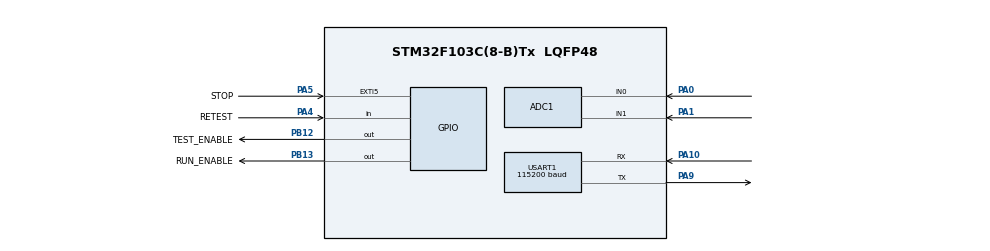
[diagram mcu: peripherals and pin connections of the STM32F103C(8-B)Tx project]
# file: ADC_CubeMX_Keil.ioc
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ADC1.Channel-0\#ChannelRegularConversion=ADC_CHANNEL_0
ADC1.NbrOfConversionFlag=1
ADC1.Rank-0\#ChannelRegularConversion=1
ADC1.SamplingTime-0\#ChannelRegularConversion=ADC_SAMPLETIME_239CYCLES_5
ADC1.master=1
Mcu.Family=STM32F1
Mcu.Name=STM32F103C(8-B)Tx
Mcu.Package=LQFP48
NVIC.PriorityGroup=NVIC_PRIORITYGROUP_4
PA0-WKUP.Signal=SharedAnalog_PA0
PA1.GPIO_Mode=GPIO_MODE_ANALOG
PA1.Signal=SharedAnalog_PA1
PA10.Mode=Asynchronous
PA10.Signal=USART1_RX
PA9.Mode=Asynchronous
PA9.Signal=USART1_TX
ProjectManager.HeapSize=0x200
ProjectManager.StackSize=0x400
ProjectManager.TargetToolchain=MDK-ARM V5.32
RCC.APB1Freq_Value=8000000
RCC.APB2Freq_Value=8000000
SH.SharedAnalog_PA0.0=GPIO_Analog
SH.SharedAnalog_PA0.1=ADC1_IN0,IN0
SH.SharedAnalog_PA1.0=GPIO_Analog
SH.SharedAnalog_PA1.1=ADC1_IN1,IN1
USART1.BaudRate=115200
USART1.VirtualMode=VM_ASYNC
VP_SYS_VS_ND.Mode=No_Debug
board=custom
PA4.GPIO_PuPd=GPIO_PULLUP
PA4.GPIO_Label=RETEST
PA4.Signal=GPIO_Input
PA5.GPIO_PuPd=GPIO_PULLUP
PA5.GPIO_Label=STOP
PA5.GPIO_ModeDefaultEXTI=GPIO_MODE_IT_FALLING
PA5.Signal=GPXTI5
PB12.PinState=GPIO_PIN_RESET
PB12.GPIO_Label=TEST_ENABLE
PB12.GPIO_Speed=GPIO_SPEED_FREQ_LOW
PB12.Signal=GPIO_Output
PB13.PinState=GPIO_PIN_RESET
PB13.GPIO_Label=RUN_ENABLE
PB13.GPIO_Speed=GPIO_SPEED_FREQ_LOW
PB13.Signal=GPIO_Output
NVIC.EXTI9_5_IRQn=true\:0\:0\:false\:false\:true\:true\:true\:true

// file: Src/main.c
/* USER CODE BEGIN Header */
/**
  ******************************************************************************
  * @file           : main.c
  * @brief          : Main program body
  ******************************************************************************
  * @attention
  *
  * Copyright (c) 2026 STMicroelectronics.
  * All rights reserved.
  *
  * This software is licensed under terms that can be found in the LICENSE file
  * in the root directory of this software component.
  * If no LICENSE file comes with this software, it is provided AS-IS.
  *
  ******************************************************************************
  */
/* USER CODE END Header */
#include "main.h" /* 引入 HAL、芯片定义和 Error_Handler 声明。 */

/* USER CODE BEGIN Includes */
#include <stdio.h> /* 将真实读数格式化为串口文本。 */
#include <string.h> /* 使用明确的字符串比较检查 ADC 返回状态。 */
#include "div_diagnosis.h" /* 引入参数 2.0 的电压换算和九工况判别。 */

/* USER CODE END Includes */

/* USER CODE BEGIN PTD */
typedef struct /* 保存一次检测结果，初始化时所有有效标志为假。 */
{
    uint32_t vb_raw; /* VB 的真实 ADC 原码，仅在 vb_valid 为真时可用。 */
    uint32_t va_raw; /* VA 的真实 ADC 原码，仅在 va_valid 为真时可用。 */
    uint32_t vb_mv; /* VB 四舍五入后的 mV 值。 */
    uint32_t va_mv; /* VA 四舍五入后的 mV 值。 */
    uint32_t adc_conversions; /* 每次 Poll 成功并 GetValue 后递增。 */
    uint32_t feature_reads; /* 实际获得有效读数的不同节点数。 */
    uint32_t elapsed_ms; /* 从断开旧电源到判别和供电设置完成的毫秒数，不含串口发送。 */
    int vb_valid; /* VB 已有效采样时为真，未读时输出 NA。 */
    int va_valid; /* VA 已有效采样时为真，未读时输出 NA。 */
    int state; /* 唯一工况编号，或 DIV_UNKNOWN。 */
    const char *error; /* OK 或明确的 ADC 错误阶段。 */
} DivMeasurement; /* 为本次采集记录定义类型名。 */

typedef struct /* 保存复测按钮的消抖状态，持续按下只触发一次。 */
{
    GPIO_PinState raw_level; /* 最近一次读到的按钮电平。 */
    GPIO_PinState stable_level; /* 已连续稳定足够时间的按钮电平。 */
    uint32_t changed_ms; /* 原始电平最后变化的时刻。 */
} RetestButton; /* 为复测按钮的状态定义类型名。 */

/* USER CODE END PTD */

/* USER CODE BEGIN PD */
#define ADC_TIMEOUT_MILLISECONDS 20 /* 最多等待一次 ADC 转换 20 ms。 */
#define UART_TIMEOUT_MILLISECONDS 100 /* 一条报告最多发送 100 ms。 */
#define REPORT_BUFFER_SIZE 384 /* 容纳整条带状态和错误信息的报告。 */
#define TEST_POWER_PIN GPIO_PIN_12 /* PB12，芯片第 25 脚，控制 1 V 测试电源开关。 */
#define RUN_POWER_PIN GPIO_PIN_13 /* PB13，芯片第 26 脚，控制 3 V 运行电源开关。 */
#define RETEST_BUTTON_PIN GPIO_PIN_4 /* PA4，芯片第 14 脚，复测按钮按下接地。 */
#define STOP_BUTTON_PIN GPIO_PIN_5 /* PA5，芯片第 15 脚，停止按钮按下接地。 */
#define POWER_BREAK_MILLISECONDS 5 /* 两路电源都断开后等待 5 ms，保证先断后合。 */
#define TEST_SETTLE_MILLISECONDS 20 /* 打开测试电源后等待 20 ms，使 DIV 电压稳定。 */
#define BUTTON_DEBOUNCE_MILLISECONDS 20 /* 复测按钮稳定 20 ms 后接受一次按下事件。 */
#define CONTROL_POLL_MILLISECONDS 1 /* 主循环每隔 1 ms 检查复测；停止由中断立即断电。 */
#define DIV_NORMAL_CASE 0 /* 正常工况为 DIV0，只有该状态允许进入运行。 */

/* USER CODE END PD */

ADC_HandleTypeDef hadc1; /* 保存 ADC1 的 HAL 配置及状态。 */

UART_HandleTypeDef huart1; /* 保存 USART1 的 HAL 配置及状态。 */

/* USER CODE BEGIN PV */
static volatile int power_gpio_ready = 0; /* GPIO 尚未初始化时禁止访问断电输出。 */
static volatile int stop_requested = 0; /* 停止中断锁存此标志，只有松开停止并按复测才解除。 */
static int detection_pending = 1; /* 上电安排一次检测，完成后等待复测按钮。 */
static int stop_reported = 0; /* 一次停止事件只输出一条事件报告。 */
static RetestButton retest_button = {GPIO_PIN_SET, GPIO_PIN_SET, 0}; /* 未按按钮默认为高电平。 */

/* USER CODE END PV */

void SystemClock_Config(void); /* 声明系统时钟配置函数。 */
static void MX_GPIO_Init(void); /* 声明 GPIO 初始化函数。 */
static void MX_ADC1_Init(void); /* 声明 ADC1 初始化函数。 */
static void MX_USART1_UART_Init(void); /* 声明 USART1 初始化函数。 */
/* USER CODE BEGIN PFP */
static const char *ReadAdcChannel(uint32_t channel, uint32_t *raw, uint32_t *conversions); /* 声明真实采样函数。 */
static void SendReport(const DivMeasurement *result); /* 声明报告函数。 */
static void RunDivDetection(void); /* 声明一次完整检测。 */
static void AllPowerOff(void); /* 声明无等待的双路断电函数，可由停止中断调用。 */
static void ServiceControls(void); /* 声明复测和停止按钮的处理函数。 */

/* USER CODE END PFP */

/* USER CODE BEGIN 0 */
static void AllPowerOff(void) /* 同一次 GPIO 写操作关闭两个开关，不在中断里延时。 */
{
    if (power_gpio_ready) /* 初始化未完成时由外部下拉电阻维持断电。 */
    {
        HAL_GPIO_WritePin(GPIOB, TEST_POWER_PIN | RUN_POWER_PIN, GPIO_PIN_RESET); /* 将 PB12 和 PB13 一起拉低。 */
    }
}

static int StopIsActive(void) /* 同时检查锁存事件和按钮实时电平，包含上电时已按住的情况。 */
{
    return stop_requested || HAL_GPIO_ReadPin(GPIOA, STOP_BUTTON_PIN) == GPIO_PIN_RESET; /* 任一条件成立就禁止上电。 */
}

void DivEmergencyStop(void) /* 供停止中断和故障中断使用，不调用串口或 HAL_Delay。 */
{
    stop_requested = 1; /* 锁存停止，按钮松开也不会自动恢复运行。 */
    AllPowerOff(); /* 立即关闭测试和运行电源。 */
}

void HAL_GPIO_EXTI_Callback(uint16_t pin) /* HAL 在处理停止按钮的下降沿中断后调用此函数。 */
{
    if (pin == STOP_BUTTON_PIN) /* 只处理本工程接在 PA5 的停止按钮。 */
    {
        DivEmergencyStop(); /* 按下时立即断电，主循环随后发送停止事件。 */
    }
}

static int WaitWithoutStop(uint32_t milliseconds) /* 在稳定等待和互锁等待期间也允许停止取消检测。 */
{
    uint32_t started_ms = HAL_GetTick(); /* 保存等待开始时刻。 */
    while (HAL_GetTick() - started_ms < milliseconds) /* 无符号差值允许毫秒计数器回绕。 */
    {
        if (StopIsActive()) /* 检查等待期间是否出现停止。 */
        {
            DivEmergencyStop(); /* 即使按钮没有产生新下降沿，也保证立即断电。 */
            return 0; /* 告诉调用方本次等待被停止取消。 */
        }
        HAL_Delay(CONTROL_POLL_MILLISECONDS); /* 等待一个毫秒，保持 SysTick 正常更新。 */
    }
    if (StopIsActive()) /* 在等待结束的边界再检查一次停止。 */
    {
        DivEmergencyStop(); /* 保证边界出现的停止也关闭两路。 */
        return 0; /* 禁止继续合闸。 */
    }
    return 1; /* 等待完成且没有停止请求。 */
}

static int SelectPower(uint16_t selected_pin) /* 只允许在两个开关均关闭并等待之后开启其中一路。 */
{
    uint32_t previous_interrupt_mask; /* 保存调用前的中断屏蔽状态，不能擅自开启原本关闭的中断。 */
    int enabled = 0; /* 默认没有合闸，只有通过所有检查才置为成功。 */
    AllPowerOff(); /* 每次切换首先断开旧电源和另一条电源。 */
    if (selected_pin != TEST_POWER_PIN && selected_pin != RUN_POWER_PIN) /* 拒绝同时开启两路或传入其他引脚。 */
    {
        return 0; /* 保持双路关闭并报告未合闸。 */
    }
    if (!WaitWithoutStop(POWER_BREAK_MILLISECONDS)) /* 至少保持两路断开 5 ms，并接受停止取消。 */
    {
        return 0; /* 被停止后不允许合闸。 */
    }
    previous_interrupt_mask = __get_PRIMASK(); /* 保存当前中断状态。 */
    __disable_irq(); /* 将停止检查和单路合闸作为不可被打断的一组操作。 */
    if (!StopIsActive()) /* 若停止已发生或按钮仍按住，就维持断电。 */
    {
        HAL_GPIO_WritePin(GPIOB, selected_pin, GPIO_PIN_SET); /* 只拉高选中的一根控制线。 */
        enabled = 1; /* 记录已经发出单路开启命令。 */
    }
    __set_PRIMASK(previous_interrupt_mask); /* 恢复原中断状态，已挂起的停止中断将立即关闭电源。 */
    return enabled; /* 后续步骤仍会检查停止标志，避免接受已被取消的检测。 */
}

static int RetestWasPressed(void) /* 产生经消抖的按下事件，持续按住不会重复检测。 */
{
    GPIO_PinState current_level = HAL_GPIO_ReadPin(GPIOA, RETEST_BUTTON_PIN); /* 读取 PA4，低电平表示按下。 */
    uint32_t now_ms = HAL_GetTick(); /* 获取消抖计时时刻。 */
    if (current_level != retest_button.raw_level) /* 原始电平改变时重新开始稳定计时。 */
    {
        retest_button.raw_level = current_level; /* 保存刚读到的电平。 */
        retest_button.changed_ms = now_ms; /* 从本次变化时刻起等待 20 ms。 */
    }
    if (current_level != retest_button.stable_level && now_ms - retest_button.changed_ms >= BUTTON_DEBOUNCE_MILLISECONDS) /* 只接受持续稳定的变化。 */
    {
        retest_button.stable_level = current_level; /* 更新已确认的稳定电平。 */
        return current_level == GPIO_PIN_RESET; /* 仅按下沿返回真，松开沿只更新状态。 */
    }
    return 0; /* 没有新的稳定按下事件。 */
}

static const char *ReadAdcChannel(uint32_t channel, uint32_t *raw, uint32_t *conversions) /* 失败返回阶段名，成功返回 OK。 */
{
    ADC_ChannelConfTypeDef selected = {0}; /* 全部配置字段清零，随后明确设置所需字段。 */
    if (StopIsActive()) /* 停止若发生在上一通道转换期间，不再启动下一通道。 */
    {
        return "STOP_REQUESTED"; /* 断电后的读数不能作为新的有效测试采样。 */
    }
    selected.Channel = channel; /* 选择 PA0 的通道 0 或 PA1 的通道 1。 */
    selected.Rank = ADC_REGULAR_RANK_1; /* 单次转换只使用序列第一个位置。 */
    selected.SamplingTime = ADC_SAMPLETIME_239CYCLES_5; /* 给分压节点 239.5 个 ADC 周期采样时间。 */
    if (HAL_ADC_ConfigChannel(&hadc1, &selected) != HAL_OK) /* 在 ADC 停止期间切换通道。 */
    {
        return "ADC_CONFIG_FAILED"; /* 配置失败，没有启动转换。 */
    }
    if (StopIsActive()) /* 配置完成到启动之前再次检查停止。 */
    {
        return "STOP_REQUESTED"; /* 不在已经断电的电路上启动 ADC 转换。 */
    }
    if (HAL_ADC_Start(&hadc1) != HAL_OK) /* 软件触发一次真实转换。 */
    {
        if (HAL_ADC_Stop(&hadc1) != HAL_OK) /* 启动失败也尝试让 ADC 回到停止状态。 */
        {
            return "ADC_START_AND_STOP_FAILED"; /* 同时报告启动与清理失败。 */
        }
        return "ADC_START_FAILED"; /* 不把启动失败记作完成转换。 */
    }
    if (HAL_ADC_PollForConversion(&hadc1, ADC_TIMEOUT_MILLISECONDS) != HAL_OK) /* 等待真实完成标志，最多 20 ms。 */
    {
        if (HAL_ADC_Stop(&hadc1) != HAL_OK) /* 超时或错误后也关闭 ADC。 */
        {
            return "ADC_POLL_AND_STOP_FAILED"; /* 明确报告等待和停止均失败。 */
        }
        return "ADC_POLL_FAILED"; /* 未确认完成的转换不计入成功转换数。 */
    }
    *raw = HAL_ADC_GetValue(&hadc1); /* 唯一的原码来源：读取 ADC 数据寄存器。 */
    ++(*conversions); /* 确认完成并取值后记录一次，停止失败也不会抹去已经发生的转换。 */
    if (HAL_ADC_Stop(&hadc1) != HAL_OK) /* 每次取值后停止，再允许下一次切换通道。 */
    {
        return "ADC_STOP_FAILED"; /* ADC 状态不可靠，本轮不接受为正常测量。 */
    }
    if (*raw > DIV_ADC_MAX_CODE) /* 检查返回值与 12 位右对齐配置一致。 */
    {
        return "ADC_RANGE_FAILED"; /* 不对越界原码套用电压换算。 */
    }
    return "OK"; /* 本次配置、启动、等待、取值和停止全部成功。 */
}

static void SendReport(const DivMeasurement *result) /* 只发送已经保存的检测结果，不再进行 ADC 转换。 */
{
    char line[REPORT_BUFFER_SIZE]; /* 保存完整的一行串口报告。 */
    char state_text[16] = "UNKNOWN"; /* 未确认唯一匹配前使用未知状态。 */
    char vb_raw_text[12] = "NA"; /* 未取得有效 VB 原码时不发送伪造的零。 */
    char va_raw_text[12] = "NA"; /* 未取得有效 VA 原码时显示未读。 */
    char vb_mv_text[12] = "NA"; /* VB 未读时没有可用的毫伏值。 */
    char va_mv_text[12] = "NA"; /* VA 未读时没有可用的毫伏值。 */
    const char *kind = "UNKNOWN"; /* 将正常、已知故障、未知分开显示。 */
    int written; /* 保存 snprintf 实际需要的字符数。 */
    if (result->state >= 0) /* 只有唯一匹配才输出 DIV 编号。 */
    {
        snprintf(state_text, sizeof(state_text), "DIV%d", result->state); /* 将内部编号转换为 DIV0 至 DIV8。 */
        kind = result->state == DIV_NORMAL_CASE ? "NORMAL" : "FAULT"; /* 正常编号使用具名常量表达。 */
    }
    if (result->vb_valid) /* 只有有效 VB 采样才能进入报告。 */
    {
        snprintf(vb_raw_text, sizeof(vb_raw_text), "%lu", (unsigned long)result->vb_raw); /* 格式化真实 VB 原码。 */
        snprintf(vb_mv_text, sizeof(vb_mv_text), "%lu", (unsigned long)result->vb_mv); /* 格式化 VB 换算值。 */
    }
    if (result->va_valid) /* 独立判断 VA，避免沿用上一轮数据。 */
    {
        snprintf(va_raw_text, sizeof(va_raw_text), "%lu", (unsigned long)result->va_raw); /* 格式化真实 VA 原码。 */
        snprintf(va_mv_text, sizeof(va_mv_text), "%lu", (unsigned long)result->va_mv); /* 格式化 VA 换算值。 */
    }
    written = snprintf(line, sizeof(line), /* 按固定字段名组成便于保存与核对的串口记录。 */
        "STATE=%s KIND=%s VB_RAW=%s VB_MV=%s VA_RAW=%s VA_MV=%s " /* 先输出状态和两点原码、电压。 */
        "FEATURE_READS=%lu ADC_CONVERSIONS=%lu ELAPSED_MS=%lu " /* 分别输出节点数、转换数和检测耗时。 */
        "RUN_POWER=%s TEST_POWER=%s POWER_SOURCE=GPIO_LEVEL ERROR=%s\r\n", /* GPIO 电平是控制证据，不能冒充独立电源测量。 */
        state_text, kind, vb_raw_text, vb_mv_text, va_raw_text, va_mv_text, /* 对应前六个文本字段。 */
        (unsigned long)result->feature_reads, (unsigned long)result->adc_conversions, /* 使用本轮实际累加的计数。 */
        (unsigned long)result->elapsed_ms, /* 输出包含测试准备和供电切换的检测耗时。 */
        HAL_GPIO_ReadPin(GPIOB, RUN_POWER_PIN) == GPIO_PIN_SET ? "ON" : "OFF", /* 读取 PB13 的实际逻辑电平快照。 */
        HAL_GPIO_ReadPin(GPIOB, TEST_POWER_PIN) == GPIO_PIN_SET ? "ON" : "OFF", /* 读取 PB12 的实际逻辑电平快照。 */
        result->error); /* 输出本轮的 ADC 错误或停止原因。 */
    if (written < 0 || written >= (int)sizeof(line)) /* 检查格式化失败和缓冲区不足。 */
    {
        Error_Handler(); /* 不发送截断或损坏的记录。 */
    }
    if (HAL_UART_Transmit(&huart1, (uint8_t *)line, (uint16_t)written, UART_TIMEOUT_MILLISECONDS) != HAL_OK) /* 由 PA9 发往终端 RXD。 */
    {
        Error_Handler(); /* 串口发送失败时停止，避免伪称已交付数据。 */
    }
}

static void RunDivDetection(void) /* 在 1 V 测试条件下检测一次，然后保持结果等待复测。 */
{
    DivMeasurement result = {0}; /* 清空这一轮记录；两个有效标志均为假。 */
    uint32_t started_ms = HAL_GetTick(); /* 从关闭旧供电和建立测试条件之前开始计时。 */
    result.state = DIV_UNKNOWN; /* 在读完两点并成功判别之前维持未知。 */
    result.error = "STOP_REQUESTED"; /* 建立测试状态失败时报告停止，不能伪造 ADC 数据。 */
    if (!SelectPower(TEST_POWER_PIN) || !WaitWithoutStop(TEST_SETTLE_MILLISECONDS)) /* 关闭运行、互锁等待、打开测试并稳定 20 ms。 */
    {
        AllPowerOff(); /* 建立测试状态失败时保证双路关闭。 */
        result.elapsed_ms = HAL_GetTick() - started_ms; /* 保存到取消时刻的真实耗时。 */
        SendReport(&result); /* 未采样的电压输出 NA，次数保持零。 */
        return; /* 本次被取消，等待新的复测事件。 */
    }
    result.error = ReadAdcChannel(ADC_CHANNEL_0, &result.vb_raw, &result.adc_conversions); /* 从 PA0 读取 VB。 */
    if (strcmp(result.error, "OK") == 0) /* 明确比较整个返回字符串，确认 VB 采样成功。 */
    {
        result.vb_valid = 1; /* 标记本轮 VB 已读取。 */
        result.vb_mv = DivCodeToMillivolts(result.vb_raw); /* 由原码换算 VB 的毫伏值。 */
        ++result.feature_reads; /* VB 是本轮第一个有效节点。 */
        result.error = ReadAdcChannel(ADC_CHANNEL_1, &result.va_raw, &result.adc_conversions); /* 切到 PA1 读取 VA。 */
        if (strcmp(result.error, "OK") == 0) /* VA 采样成功才允许两点判别。 */
        {
            result.va_valid = 1; /* 标记本轮 VA 已读取。 */
            result.va_mv = DivCodeToMillivolts(result.va_raw); /* 由原码换算 VA 的毫伏值。 */
            ++result.feature_reads; /* VA 是本轮第二个有效节点。 */
            result.state = DivClassify((int32_t)result.vb_mv, (int32_t)result.va_mv); /* 用电压闭区间确定唯一工况。 */
        }
    }
    if (StopIsActive()) /* 即使停止发生在 ADC 转换期间，也禁止接受结果并开启运行。 */
    {
        result.state = DIV_UNKNOWN; /* 已取消的检测不作为正常或故障验收结果。 */
        result.error = "STOP_REQUESTED"; /* 报告本轮取消原因。 */
        AllPowerOff(); /* 保持停止时的双路关闭。 */
    }
    else if (strcmp(result.error, "OK") == 0 && result.vb_valid && result.va_valid && result.state == DIV_NORMAL_CASE) /* 两点均成功且唯一匹配正常才进入运行。 */
    {
        if (!SelectPower(RUN_POWER_PIN) || StopIsActive()) /* 先断开测试电源，再等待 5 ms，最后尝试开启运行。 */
        {
            result.state = DIV_UNKNOWN; /* 切换被停止取消时拒绝正常结果。 */
            result.error = "STOP_REQUESTED"; /* 输出明确的取消原因。 */
            AllPowerOff(); /* 保证双路最终关闭。 */
        }
    }
    else /* 已知故障、未知工况或任何 ADC 失败都不允许进入运行。 */
    {
        AllPowerOff(); /* 检测完成后连测试电源也关闭，保持等待复测状态。 */
    }
    result.elapsed_ms = HAL_GetTick() - started_ms; /* 包含测试建立、采样判别和最终供电切换，不含串口与按钮等待。 */
    SendReport(&result); /* 发送本次测试时保存的电压，即使现在已经进入 3 V 运行也不再采样。 */
}

static void SendStopEvent(void) /* 报告停止事件，与用于填写 CSV 的 STATE 检测记录分开。 */
{
    const char stopped[] = "EVENT=STOP RUN_POWER=OFF TEST_POWER=OFF MODE=WAIT_RETEST\r\n"; /* 表明停止后必须重新按复测。 */
    if (HAL_UART_Transmit(&huart1, (uint8_t *)stopped, sizeof(stopped) - 1, UART_TIMEOUT_MILLISECONDS) != HAL_OK) /* 在主循环里发送，中断只负责断电。 */
    {
        Error_Handler(); /* 通信失败也维持双路断电并停机。 */
    }
}

static void ServiceControls(void) /* 平时只检查按钮，不重复 ADC 采样或自动改变运行供电。 */
{
    if (StopIsActive()) /* 停止按钮优先于任何复测操作。 */
    {
        DivEmergencyStop(); /* 锁存停止并确保两路关闭。 */
        detection_pending = 0; /* 取消未执行的自动检测。 */
        if (!stop_reported) /* 同一次停止只报告一次。 */
        {
            SendStopEvent(); /* 让终端看到停止后供电关闭。 */
            stop_reported = 1; /* 后续循环不重复发送。 */
        }
    }
    if (RetestWasPressed() && HAL_GPIO_ReadPin(GPIOA, STOP_BUTTON_PIN) == GPIO_PIN_SET) /* 停止按钮松开后，新的复测按下事件才有效。 */
    {
        uint32_t previous_interrupt_mask = __get_PRIMASK(); /* 保存进入临界区前的中断状态。 */
        __disable_irq(); /* 防止解除旧停止标志时丢失同时出现的新停止。 */
        if (HAL_GPIO_ReadPin(GPIOA, STOP_BUTTON_PIN) == GPIO_PIN_SET) /* 在临界区内再次确认停止按钮没有按下。 */
        {
            stop_requested = 0; /* 只通过用户明确的复测动作解除停止锁存。 */
            detection_pending = 1; /* 安排一轮完整的断电、测试、采样和判别。 */
            stop_reported = 0; /* 允许下一次独立停止事件再次报告。 */
        }
        __set_PRIMASK(previous_interrupt_mask); /* 新挂起的停止中断随后仍可取消这一轮。 */
    }
    if (detection_pending && !StopIsActive()) /* 只有有检测请求且未停止才进行 ADC 检测。 */
    {
        detection_pending = 0; /* 执行前先清除请求，防止下一圈自动再测。 */
        RunDivDetection(); /* 测量一次，完成后保持运行或断电，直到用户按复测。 */
    }
}

/* USER CODE END 0 */

int main(void)
{

  /* MCU Configuration--------------------------------------------------------*/

  /* Reset of all peripherals, Initializes the Flash interface and the Systick. */
  HAL_Init(); /* 复位 HAL 并建立 1 ms 的 SysTick 时间基准。 */
  MX_GPIO_Init(); /* 尽早将 PB12 和 PB13 配置为低电平输出，优先保证默认断电。 */

  /* Configure the system clock */
  SystemClock_Config(); /* 应用原工程的内部 HSI 8 MHz 时钟方案。 */

  /* Initialize all configured peripherals */
  MX_ADC1_Init(); /* 初始化 ADC1 单次软件转换，MSP 同时设置 PA0 和 PA1 为模拟输入。 */
  MX_USART1_UART_Init(); /* 初始化 USART1 与 PA9、PA10 引脚。 */
  /* USER CODE BEGIN 2 */
const char startup[] = "BOOT=DIV_POWER_20261011 MODE=ONE_SHOT VREF_MV=3300 ADC_BITS=12 BAUD=115200 RUN_POWER=OFF TEST_POWER=OFF\r\n"; /* 上电报告版本和初始双路关闭状态。 */
  const char calibration_error[] = "STATE=UNKNOWN ERROR=ADC_CALIBRATION_FAILED RUN_POWER=OFF TEST_POWER=OFF\r\n"; /* 校准失败时不打开任何被测电路电源。 */
  if (HAL_UART_Transmit(&huart1, (uint8_t *)startup, sizeof(startup) - 1, UART_TIMEOUT_MILLISECONDS) != HAL_OK) /* 上电先验证终端链路。 */
  {
    Error_Handler(); /* 启动信息发送失败时停止。 */
  }
  if (HAL_ADCEx_Calibration_Start(&hadc1) != HAL_OK) /* 所有外设初始化之后只校准一次。 */
  {
    HAL_UART_Transmit(&huart1, (uint8_t *)calibration_error, sizeof(calibration_error) - 1, UART_TIMEOUT_MILLISECONDS); /* 尽力报告校准故障。 */
    Error_Handler(); /* 校准失败不得继续采样判别。 */
  }
  retest_button.raw_level = HAL_GPIO_ReadPin(GPIOA, RETEST_BUTTON_PIN); /* 上电时按住复测也不制造额外的按下沿。 */
  retest_button.stable_level = retest_button.raw_level; /* 将当前电平作为初始稳定状态。 */
  retest_button.changed_ms = HAL_GetTick(); /* 从初始化结束开始按钮消抖计时。 */

/* USER CODE END 2 */

  /* Infinite loop */
  /* USER CODE BEGIN WHILE */
  while (1) /* 持续执行循环；错误处理中的空循环用于停机。 */
  {
    /* USER CODE END WHILE */

    /* USER CODE BEGIN 3 */
ServiceControls(); /* 上电仅检测一次，之后只接受复测和停止操作。 */
    HAL_Delay(CONTROL_POLL_MILLISECONDS); /* 主循环检查间隔为 1 ms，运行期间不自动采样。 */
  }

/* USER CODE END 3 */
}

void SystemClock_Config(void)
{
  RCC_OscInitTypeDef RCC_OscInitStruct = {0}; /* 将振荡器配置字段全部清零。 */
  RCC_ClkInitTypeDef RCC_ClkInitStruct = {0}; /* 将总线时钟配置字段全部清零。 */
  RCC_PeriphCLKInitTypeDef PeriphClkInit = {0}; /* 将 ADC 外设时钟配置字段全部清零。 */

  /** Initializes the RCC Oscillators according to the specified parameters
  * in the RCC_OscInitTypeDef structure.
  */
  RCC_OscInitStruct.OscillatorType = RCC_OSCILLATORTYPE_HSI; /* 选择片内 HSI 振荡器。 */
  RCC_OscInitStruct.HSIState = RCC_HSI_ON; /* 开启 8 MHz HSI。 */
  RCC_OscInitStruct.HSICalibrationValue = RCC_HSICALIBRATION_DEFAULT; /* 保留 HSI 默认校准值。 */
  RCC_OscInitStruct.PLL.PLLState = RCC_PLL_NONE; /* 保持原工程不使用 PLL 的配置。 */
  if (HAL_RCC_OscConfig(&RCC_OscInitStruct) != HAL_OK) /* 应用振荡器设置并检查失败。 */
  {
    Error_Handler(); /* 初始化失败时停止，不继续发送可能错误的读数。 */
  }

  /** Initializes the CPU, AHB and APB buses clocks
  */
  RCC_ClkInitStruct.ClockType = RCC_CLOCKTYPE_HCLK|RCC_CLOCKTYPE_SYSCLK
                              |RCC_CLOCKTYPE_PCLK1|RCC_CLOCKTYPE_PCLK2; /* 连同上一行选择 SYSCLK、HCLK、PCLK1 和 PCLK2。 */
  RCC_ClkInitStruct.SYSCLKSource = RCC_SYSCLKSOURCE_HSI; /* 系统时钟选 HSI 8 MHz。 */
  RCC_ClkInitStruct.AHBCLKDivider = RCC_SYSCLK_DIV1; /* AHB 不分频，HCLK 为 8 MHz。 */
  RCC_ClkInitStruct.APB1CLKDivider = RCC_HCLK_DIV1; /* APB1 不分频，为 8 MHz。 */
  RCC_ClkInitStruct.APB2CLKDivider = RCC_HCLK_DIV1; /* APB2 不分频，为 8 MHz。 */

  if (HAL_RCC_ClockConfig(&RCC_ClkInitStruct, FLASH_LATENCY_0) != HAL_OK) /* 应用总线频率；8 MHz 使用零个 Flash 等待周期。 */
  {
    Error_Handler(); /* 初始化失败时停止，不继续发送可能错误的读数。 */
  }
  PeriphClkInit.PeriphClockSelection = RCC_PERIPHCLK_ADC; /* 选择要配置的 ADC 外设时钟。 */
  PeriphClkInit.AdcClockSelection = RCC_ADCPCLK2_DIV2; /* 8 MHz 除以二，ADC 工作在 4 MHz。 */
  if (HAL_RCCEx_PeriphCLKConfig(&PeriphClkInit) != HAL_OK) /* 应用 ADC 时钟并检查失败。 */
  {
    Error_Handler(); /* 初始化失败时停止，不继续发送可能错误的读数。 */
  }
}

static void MX_ADC1_Init(void)
{

  ADC_ChannelConfTypeDef sConfig = {0}; /* 准备初始通道配置，各字段先清零。 */

  /** Common config
  */
  hadc1.Instance = ADC1; /* 选择芯片 ADC1 外设。 */
  hadc1.Init.ScanConvMode = ADC_SCAN_DISABLE; /* 关闭多通道自动扫描，由应用逐次切换通道。 */
  hadc1.Init.ContinuousConvMode = DISABLE; /* 关闭连续转换，每次 Start 仅转换一次。 */
  hadc1.Init.DiscontinuousConvMode = DISABLE; /* 关闭间断扫描模式。 */
  hadc1.Init.ExternalTrigConv = ADC_SOFTWARE_START; /* 由软件启动，不使用外部触发器。 */
  hadc1.Init.DataAlign = ADC_DATAALIGN_RIGHT; /* 原码右对齐，直接得到 0 至 4095。 */
  hadc1.Init.NbrOfConversion = 1; /* 常规序列长度设为一。 */
  if (HAL_ADC_Init(&hadc1) != HAL_OK) /* 应用 ADC 配置并检查失败。 */
  {
    Error_Handler(); /* 初始化失败时停止，不继续发送可能错误的读数。 */
  }

  /** Configure Regular Channel
  */
  sConfig.Channel = ADC_CHANNEL_0; /* 启动后的默认输入为 PA0 的 VB。 */
  sConfig.Rank = ADC_REGULAR_RANK_1; /* 通道位于常规序列第一位。 */
  sConfig.SamplingTime = ADC_SAMPLETIME_239CYCLES_5; /* 初始采样时间同样为 239.5 周期。 */
  if (HAL_ADC_ConfigChannel(&hadc1, &sConfig) != HAL_OK) /* 应用初始通道配置并检查失败。 */
  {
    Error_Handler(); /* 初始化失败时停止，不继续发送可能错误的读数。 */
  }

}

static void MX_USART1_UART_Init(void)
{

  huart1.Instance = USART1; /* 选择 USART1 外设。 */
  huart1.Init.BaudRate = 115200; /* 与终端统一为 115200 波特。 */
  huart1.Init.WordLength = UART_WORDLENGTH_8B; /* 每帧包含八个数据位。 */
  huart1.Init.StopBits = UART_STOPBITS_1; /* 每帧使用一个停止位。 */
  huart1.Init.Parity = UART_PARITY_NONE; /* 不使用奇偶校验。 */
  huart1.Init.Mode = UART_MODE_TX_RX; /* 保留原工程收发模式，本应用只发送。 */
  huart1.Init.HwFlowCtl = UART_HWCONTROL_NONE; /* 不使用 CTS 或 RTS 流控。 */
  huart1.Init.OverSampling = UART_OVERSAMPLING_16; /* 使用十六倍串口过采样。 */
  if (HAL_UART_Init(&huart1) != HAL_OK) /* 应用串口和 MSP 引脚配置并检查失败。 */
  {
    Error_Handler(); /* 初始化失败时停止，不继续发送可能错误的读数。 */
  }

}

static void MX_GPIO_Init(void)
{
  GPIO_InitTypeDef configured = {0}; /* 先将 GPIO 配置结构清零，再明确填写所需设置。 */

  /* GPIO Ports Clock Enable */
  __HAL_RCC_GPIOA_CLK_ENABLE(); /* 使能 GPIOA 时钟以便配置 PA 引脚。 */
  __HAL_RCC_GPIOB_CLK_ENABLE(); /* 打开 GPIOB 时钟以控制 PB12 和 PB13。 */
  __HAL_RCC_AFIO_CLK_ENABLE(); /* 打开复用功能时钟，使 PA5 能映射到外部中断线。 */

  /* USER CODE BEGIN MX_GPIO_Init_2 */
  HAL_GPIO_WritePin(GPIOB, TEST_POWER_PIN | RUN_POWER_PIN, GPIO_PIN_RESET); /* 先预置输出锁存为低，再启用输出，避免合闸毛刺。 */
  configured.Pin = TEST_POWER_PIN | RUN_POWER_PIN; /* 配置两根电源控制线。 */
  configured.Mode = GPIO_MODE_OUTPUT_PP; /* 使用推挽输出，低电平断开、高电平闭合。 */
  configured.Pull = GPIO_NOPULL; /* 输出运行时无需内部上下拉，复位时由外部 100 kOhm 下拉保证断电。 */
  configured.Speed = GPIO_SPEED_FREQ_LOW; /* 控制开关无需高速边沿，使用低速输出。 */
  HAL_GPIO_Init(GPIOB, &configured); /* 启用 PB12 和 PB13 的低电平输出。 */
  power_gpio_ready = 1; /* 此后故障和停止处理均可以调用双路断电。 */
  configured.Pin = RETEST_BUTTON_PIN; /* 选择 PA4 作为复测按钮输入。 */
  configured.Mode = GPIO_MODE_INPUT; /* 复测由主循环消抖，不使用外部中断。 */
  configured.Pull = GPIO_PULLUP; /* 松开为高，按下接 GND 为低。 */
  HAL_GPIO_Init(GPIOA, &configured); /* 应用复测按钮设置。 */
  configured.Pin = STOP_BUTTON_PIN; /* 选择 PA5 作为停止按钮输入。 */
  configured.Mode = GPIO_MODE_IT_FALLING; /* 按下产生下降沿中断，优先立即断电。 */
  HAL_GPIO_Init(GPIOA, &configured); /* 应用停止按钮上拉和外部中断设置。 */
  HAL_NVIC_SetPriority(EXTI9_5_IRQn, 0, 0); /* 停止使用最高可配置优先级，数值零表示最高紧迫程度。 */
  HAL_NVIC_EnableIRQ(EXTI9_5_IRQn); /* 允许 EXTI5 所在的共享中断进入停止处理。 */

  /* USER CODE END MX_GPIO_Init_2 */
}

void Error_Handler(void)
{
  /* USER CODE BEGIN Error_Handler_Debug */
  /* User can add his own implementation to report the HAL error return state */
  DivEmergencyStop(); /* 在关闭中断和停机之前，先关闭被测电路的两路电源。 */
  __disable_irq(); /* 错误时关闭中断，保留失败现场供检查。 */
  while (1) /* 持续执行循环；错误处理中的空循环用于停机。 */
  {
  }
  /* USER CODE END Error_Handler_Debug */
}
